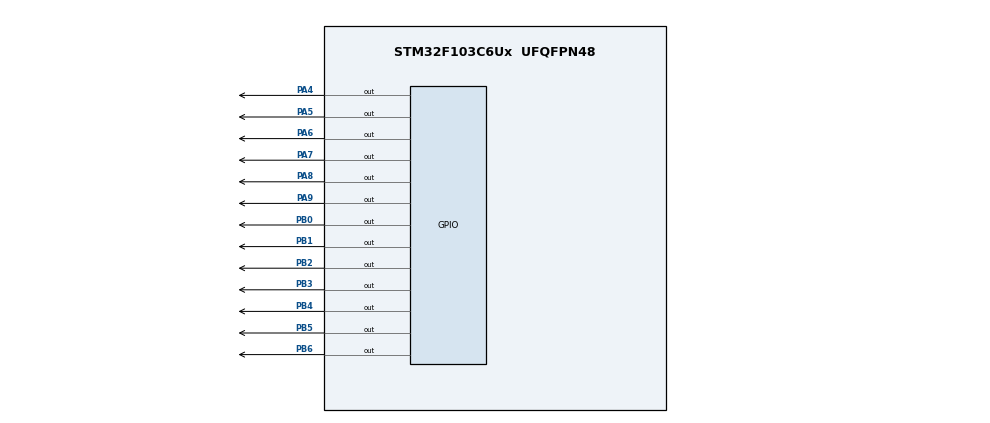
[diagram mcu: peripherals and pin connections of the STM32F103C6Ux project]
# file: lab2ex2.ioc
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Mcu.Family=STM32F1
Mcu.Name=STM32F103C6Ux
Mcu.Package=UFQFPN48
NVIC.PriorityGroup=NVIC_PRIORITYGROUP_4
NVIC.TIM2_IRQn=true\:0\:0\:false\:false\:true\:true\:true
PA4.Signal=GPIO_Output
PA5.Signal=GPIO_Output
PA6.Signal=GPIO_Output
PA7.Signal=GPIO_Output
PA8.Signal=GPIO_Output
PA9.Signal=GPIO_Output
PB0.Signal=GPIO_Output
PB1.Signal=GPIO_Output
PB2.Signal=GPIO_Output
PB3.Signal=GPIO_Output
PB4.Signal=GPIO_Output
PB5.Signal=GPIO_Output
PB6.Signal=GPIO_Output
ProjectManager.HeapSize=0x200
ProjectManager.StackSize=0x400
ProjectManager.TargetToolchain=STM32CubeIDE
RCC.APB1Freq_Value=8000000
RCC.APB2Freq_Value=8000000
TIM2.Period=9
TIM2.Prescaler=7999
VP_SYS_VS_ND.Mode=No_Debug
VP_TIM2_VS_ClockSourceINT.Mode=Internal
board=custom

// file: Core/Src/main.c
/* USER CODE BEGIN Header */
/**
  ******************************************************************************
  * @file           : main.c
  * @brief          : Main program body - Lab 2 Exercise 6 (Software Multi-Timer)
  ******************************************************************************
  */
/* USER CODE END Header */
#include "main.h"
#include "stm32f1xx_hal_tim.h"

TIM_HandleTypeDef htim2;

/* USER CODE BEGIN PV */
// --- 1. SOFTWARE TIMER TEMPLATE (2 TIMERS) ---
#define MAX_TIMERS 2

int timer_counter[MAX_TIMERS] = {0};
int timer_flag[MAX_TIMERS] = {0};

// --- 2. CÁC BIẾN CỦA ĐỒNG HỒ SỐ (EX 5) ---
const int MAX_LED = 4;
int index_led = 0;
int led_buffer[4] = {1, 5, 0, 8}; // Mặc định 15:08
int hour = 15, minute = 8, second = 50;
/* USER CODE END PV */

void SystemClock_Config(void);
static void MX_GPIO_Init(void);
static void MX_TIM2_Init(void);

// Các hàm cho Software Timer
void setTimer(int index, int duration);
void timerRun(void);

// Các hàm cho LED 7-đoạn & Đồng hồ
void display7SEG(int num);
void update7SEG(int index);
void updateClockBuffer(void);

/* USER CODE BEGIN 0 */
// --- HÀM TẠO TIMING SOFTWARE TIMER (THEO TEMPLATE) ---
void setTimer(int index, int duration) {
    if (index >= 0 && index < MAX_TIMERS) {
        timer_counter[index] = duration;
        timer_flag[index] = 0;
    }
}

void timerRun(void) {
    for (int i = 0; i < MAX_TIMERS; i++) {
        if (timer_counter[i] > 0) {
            timer_counter[i]--;
            if (timer_counter[i] <= 0) {
                timer_flag[i] = 1;
            }
        }
    }
}

// --- HÀM HIỂN THỊ MÃ ANODE CHUNG RA PORT B (PB0..PB6) ---
void display7SEG(int num) {
    uint8_t segment_map[10] = {
        0x3F, // 0
        0x06, // 1
        0x5B, // 2
        0x4F, // 3
        0x66, // 4
        0x6D, // 5
        0x7D, // 6
        0x07, // 7
        0x7F, // 8
        0x6F  // 9
    };
    if (num >= 0 && num <= 9) {
        // Tắt tất cả các thanh LED (đưa về Mức 1)
        HAL_GPIO_WritePin(GPIOB, GPIO_PIN_0|GPIO_PIN_1|GPIO_PIN_2|GPIO_PIN_3|GPIO_PIN_4|GPIO_PIN_5|GPIO_PIN_6, GPIO_PIN_SET);

        // Bật các thanh tương ứng (kéo xuống Mức 0)
        uint8_t code = segment_map[num];
        for (int i = 0; i < 7; i++) {
            if ((code >> i) & 0x01) {
                HAL_GPIO_WritePin(GPIOB, (GPIO_PIN_0 << i), GPIO_PIN_RESET);
            }
        }
    }
}

// --- HÀM QUÉT LED 7-ĐOẠN (PA6..PA9) ---
void update7SEG(int index) {
    // Tắt tất cả 4 Transistor PNP bằng cách cho chân B lên HIGH (1)
    HAL_GPIO_WritePin(GPIOA, GPIO_PIN_6 | GPIO_PIN_7 | GPIO_PIN_8 | GPIO_PIN_9, GPIO_PIN_SET);

    // Bật Transistor tương ứng bằng cách kéo chân B xuống LOW (0)
    switch (index) {
        case 0:
            display7SEG(led_buffer[0]);
            HAL_GPIO_WritePin(GPIOA, GPIO_PIN_6, GPIO_PIN_RESET); // EN0
            break;
        case 1:
            display7SEG(led_buffer[1]);
            HAL_GPIO_WritePin(GPIOA, GPIO_PIN_7, GPIO_PIN_RESET); // EN1
            break;
        case 2:
            display7SEG(led_buffer[2]);
            HAL_GPIO_WritePin(GPIOA, GPIO_PIN_8, GPIO_PIN_RESET); // EN2
            break;
        case 3:
            display7SEG(led_buffer[3]);
            HAL_GPIO_WritePin(GPIOA, GPIO_PIN_9, GPIO_PIN_RESET); // EN3
            break;
        default:
            break;
    }
}

void updateClockBuffer(void) {
    led_buffer[0] = hour / 10;
    led_buffer[1] = hour % 10;
    led_buffer[2] = minute / 10;
    led_buffer[3] = minute % 10;
}

// --- HÀM NGẮT TIMER 2 (GỌI MỖI 10ms) ---
void HAL_TIM_PeriodElapsedCallback(TIM_HandleTypeDef *htim) {
    if (htim->Instance == TIM2) {
        timerRun(); // Ngắt 10ms chỉ làm duy nhất việc trừ counter
    }
}
/* USER CODE END 0 */

int main(void)
{
  HAL_Init();
  SystemClock_Config();
  MX_GPIO_Init();
  MX_TIM2_Init();

  /* USER CODE BEGIN 2 */
  HAL_TIM_Base_Start_IT(&htim2); // Bật ngắt Hardware Timer 2

  // Timer 0: Quét LED 7 đoạn (1 tick = 10ms)
  setTimer(0, 50);

  // Timer 1: Đếm đồng hồ + đảo LED PA5 (100 ticks = 1000ms = 1 giây)
  setTimer(1, 100);
  /* USER CODE END 2 */

  /* USER CODE BEGIN WHILE */
  while (1)
  {
      // --- TASK 1: QUÉT LED 7-ĐOẠN (MỖI 10ms) ---
      if (timer_flag[0] == 1) {
          setTimer(0, 50); // Đặt lại 1 tick (10ms)
          update7SEG(index_led);
          index_led = (index_led + 1) % MAX_LED;
      }

      // --- TASK 2: ĐẾM ĐỒNG HỒ SỐ & CHỚP LED PA5 (MỖI 1000ms) ---
      if (timer_flag[1] == 1) {
          setTimer(1, 100); // Đặt lại 100 ticks (1000ms)

          // 1. Đảo trạng thái LED đơn PA5
          HAL_GPIO_TogglePin(GPIOA, GPIO_PIN_5);

          // 2. Logic tăng đồng hồ Giờ : Phút : Giây
          second++;
          if (second >= 60) {
              second = 0;
              minute++;
              if (minute >= 60) {
                  minute = 0;
                  hour++;
                  if (hour >= 24) {
                      hour = 0;
                  }
              }
          }

          // 3. Cập nhật dữ liệu số hiển thị
          updateClockBuffer();
      }
    /* USER CODE END WHILE */
  }
}

void SystemClock_Config(void)
{
  RCC_OscInitTypeDef RCC_OscInitStruct = {0};
  RCC_ClkInitTypeDef RCC_ClkInitStruct = {0};

  RCC_OscInitStruct.OscillatorType = RCC_OSCILLATORTYPE_HSI;
  RCC_OscInitStruct.HSIState = RCC_HSI_ON;
  RCC_OscInitStruct.HSICalibrationValue = RCC_HSICALIBRATION_DEFAULT;
  RCC_OscInitStruct.PLL.PLLState = RCC_PLL_NONE;
  if (HAL_RCC_OscConfig(&RCC_OscInitStruct) != HAL_OK) { Error_Handler(); }

  RCC_ClkInitStruct.ClockType = RCC_CLOCKTYPE_HCLK|RCC_CLOCKTYPE_SYSCLK
                              |RCC_CLOCKTYPE_PCLK1|RCC_CLOCKTYPE_PCLK2;
  RCC_ClkInitStruct.SYSCLKSource = RCC_SYSCLKSOURCE_HSI;
  RCC_ClkInitStruct.AHBCLKDivider = RCC_SYSCLK_DIV1;
  RCC_ClkInitStruct.APB1CLKDivider = RCC_HCLK_DIV1;
  RCC_ClkInitStruct.APB2CLKDivider = RCC_HCLK_DIV1;

  if (HAL_RCC_ClockConfig(&RCC_ClkInitStruct, FLASH_LATENCY_0) != HAL_OK) { Error_Handler(); }
}

static void MX_TIM2_Init(void)
{
  TIM_ClockConfigTypeDef sClockSourceConfig = {0};
  TIM_MasterConfigTypeDef sMasterConfig = {0};

  htim2.Instance = TIM2;
  htim2.Init.Prescaler = 7999;
  htim2.Init.CounterMode = TIM_COUNTERMODE_UP;
  htim2.Init.Period = 9;
  htim2.Init.ClockDivision = TIM_CLOCKDIVISION_DIV1;
  htim2.Init.AutoReloadPreload = TIM_AUTORELOAD_PRELOAD_DISABLE;
  if (HAL_TIM_Base_Init(&htim2) != HAL_OK) { Error_Handler(); }

  sClockSourceConfig.ClockSource = TIM_CLOCKSOURCE_INTERNAL;
  if (HAL_TIM_ConfigClockSource(&htim2, &sClockSourceConfig) != HAL_OK) { Error_Handler(); }
  sMasterConfig.MasterOutputTrigger = TIM_TRGO_RESET;
  sMasterConfig.MasterSlaveMode = TIM_MASTERSLAVEMODE_DISABLE;
  if (HAL_TIMEx_MasterConfigSynchronization(&htim2, &sMasterConfig) != HAL_OK) { Error_Handler(); }
}

static void MX_GPIO_Init(void)
{
  GPIO_InitTypeDef GPIO_InitStruct = {0};

  __HAL_RCC_GPIOA_CLK_ENABLE();
  __HAL_RCC_GPIOB_CLK_ENABLE();

  // Khởi tạo các chân PORT A (PA4..PA9)
  HAL_GPIO_WritePin(GPIOA, GPIO_PIN_4|GPIO_PIN_5|GPIO_PIN_6|GPIO_PIN_7|GPIO_PIN_8|GPIO_PIN_9, GPIO_PIN_SET);

  GPIO_InitStruct.Pin = GPIO_PIN_4|GPIO_PIN_5|GPIO_PIN_6|GPIO_PIN_7|GPIO_PIN_8|GPIO_PIN_9;
  GPIO_InitStruct.Mode = GPIO_MODE_OUTPUT_PP;
  GPIO_InitStruct.Pull = GPIO_NOPULL;
  GPIO_InitStruct.Speed = GPIO_SPEED_FREQ_LOW;
  HAL_GPIO_Init(GPIOA, &GPIO_InitStruct);

  // Khởi tạo các chân PORT B (PB0..PB6)
  HAL_GPIO_WritePin(GPIOB, GPIO_PIN_0|GPIO_PIN_1|GPIO_PIN_2|GPIO_PIN_3|GPIO_PIN_4|GPIO_PIN_5|GPIO_PIN_6, GPIO_PIN_SET);

  GPIO_InitStruct.Pin = GPIO_PIN_0|GPIO_PIN_1|GPIO_PIN_2|GPIO_PIN_3|GPIO_PIN_4|GPIO_PIN_5|GPIO_PIN_6;
  GPIO_InitStruct.Mode = GPIO_MODE_OUTPUT_PP;
  GPIO_InitStruct.Pull = GPIO_NOPULL;
  GPIO_InitStruct.Speed = GPIO_SPEED_FREQ_LOW;
  HAL_GPIO_Init(GPIOB, &GPIO_InitStruct);
}

void Error_Handler(void) {
  __disable_irq();
  while (1) {}
}
